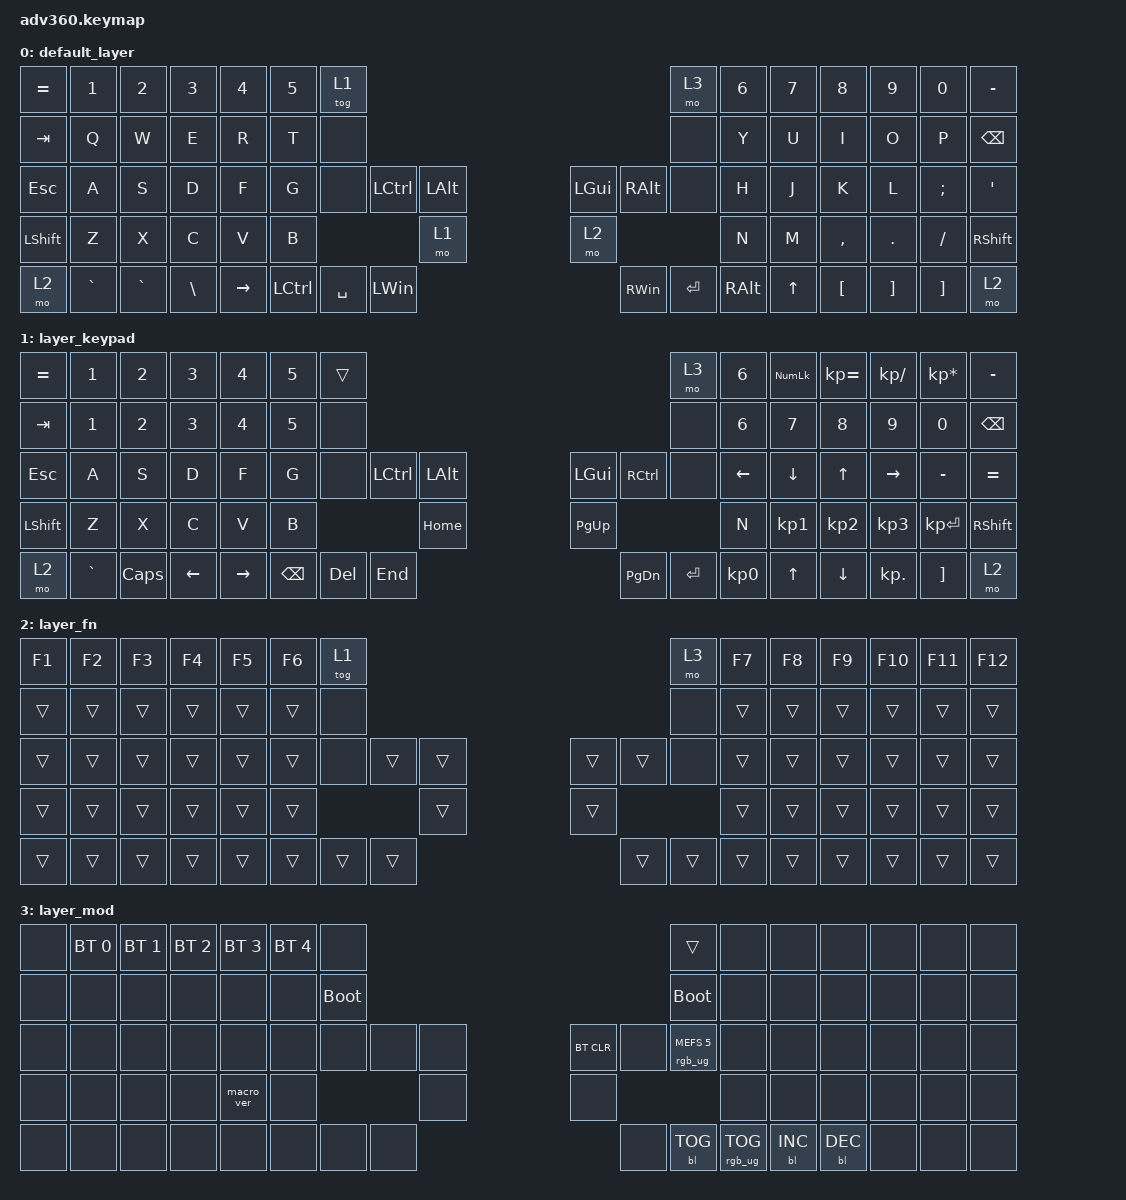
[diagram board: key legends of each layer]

/*
 * Copyright (c) 2020 The ZMK Contributors
 *
 * SPDX-License-Identifier: MIT
 */


/* THIS FILE WAS GENERATED!
 *
 * This file was generated automatically. You may or may not want to
 * edit it directly.
 */

#include <behaviors.dtsi>
#include <dt-bindings/zmk/keys.h>
#include <dt-bindings/zmk/bt.h>
#include <dt-bindings/zmk/rgb.h>
#include <dt-bindings/zmk/backlight.h>

/ {
  behaviors {
    #include "macros.dtsi"
    #include "version.dtsi"

    hm: homerow_mods {
        compatible = "zmk,behavior-hold-tap";
        label = "HOMEROW_MODS";
        #binding-cells = <2>;
        tapping-term-ms = <200>;
        quick_tap_ms = <175>;
        flavor = "tap-preferred";
        bindings = <&kp>, <&kp>;
    };
  };

    keymap {
        compatible = "zmk,keymap";


        default_layer {
            bindings = <
 &kp EQUAL     &kp N1     &kp N2         &kp N3     &kp N4  &kp N5               &tog 1                                                                   &mo 3  &kp N6  &kp N7            &kp N8             &kp N9    &kp N0  &kp MINUS
   &kp TAB      &kp Q      &kp W          &kp E      &kp R   &kp T                &none                                                                   &none   &kp Y   &kp U             &kp I              &kp O     &kp P   &kp BSPC
   &kp ESC      &kp A      &kp S          &kp D      &kp F   &kp G                &none  &kp LCTRL      &kp LALT                  &kp LGUI   &kp RALT     &none   &kp H   &kp J             &kp K              &kp L  &kp SEMI    &kp SQT
 &kp LSHFT      &kp Z      &kp X          &kp C      &kp V   &kp B                                         &mo 1                     &mo 2                        &kp N   &kp M         &kp COMMA            &kp DOT  &kp FSLH  &kp RSHFT
     &mo 2  &kp GRAVE  &kp GRAVE  &kp BACKSLASH  &kp RIGHT                    &kp LCTRL  &kp SPACE  &kp LEFT_WIN                  &kp RWIN  &kp ENTER  &kp RALT          &kp UP  &kp LEFT_BRACKET  &kp RIGHT_BRACKET  &kp RBKT      &mo 2
            >;
        };

        layer_keypad {
            bindings = <
 &kp EQUAL        &kp N1        &kp N2        &kp N3        &kp N4        &kp N5              &trans                                                                 &mo 3        &kp N6    &kp KP_NUM  &kp KP_EQUAL  &kp KP_DIVIDE  &kp KP_MULTIPLY      &kp MINUS
   &kp TAB  &kp NUMBER_1  &kp NUMBER_2  &kp NUMBER_3  &kp NUMBER_4  &kp NUMBER_5               &none                                                                 &none  &kp NUMBER_6  &kp NUMBER_7  &kp NUMBER_8   &kp NUMBER_9     &kp NUMBER_0  &kp BACKSPACE
   &kp ESC         &kp A         &kp S         &kp D         &kp F         &kp G               &none  &kp LCTRL  &kp LALT                   &kp LGUI  &kp RCTRL      &none      &kp LEFT      &kp DOWN        &kp UP      &kp RIGHT        &kp MINUS      &kp EQUAL
 &kp LSHFT         &kp Z         &kp X         &kp C         &kp V         &kp B                                 &kp HOME                  &kp PG_UP                               &kp N     &kp KP_N1     &kp KP_N2      &kp KP_N3     &kp KP_ENTER      &kp RSHFT
     &mo 2     &kp GRAVE      &kp CAPS      &kp LEFT     &kp RIGHT                          &kp BSPC    &kp DEL   &kp END                  &kp PG_DN  &kp ENTER  &kp KP_N0                      &kp UP      &kp DOWN     &kp KP_DOT         &kp RBKT          &mo 2
            >;
        };

        layer_fn {
            bindings = <
 &kp F1  &kp F2  &kp F3  &kp F4  &kp F5  &kp F6            &tog 1                                                   &mo 3  &kp F7  &kp F8  &kp F9  &kp F10  &kp F11  &kp F12
 &trans  &trans  &trans  &trans  &trans  &trans             &none                                                   &none  &trans  &trans  &trans   &trans   &trans   &trans
 &trans  &trans  &trans  &trans  &trans  &trans             &none  &trans  &trans                  &trans  &trans   &none  &trans  &trans  &trans   &trans   &trans   &trans
 &trans  &trans  &trans  &trans  &trans  &trans                            &trans                  &trans                  &trans  &trans  &trans   &trans   &trans   &trans
 &trans  &trans  &trans  &trans  &trans                    &trans  &trans  &trans                  &trans  &trans  &trans          &trans  &trans   &trans   &trans   &trans
            >;
        };

        layer_mod {
            bindings = <
  &none  &bt BT_SEL 0  &bt BT_SEL 1  &bt BT_SEL 2  &bt BT_SEL 3  &bt BT_SEL 4                  &none                                                                          &trans   &none       &none       &none   &none   &none   &none
  &none         &none         &none         &none         &none         &none            &bootloader                                                                     &bootloader   &none       &none       &none   &none   &none   &none
  &none         &none         &none         &none         &none         &none                  &none   &none   &none                  &bt BT_CLR       &none  &rgb_ug RGB_MEFS_CMD 5   &none       &none       &none   &none   &none   &none
  &none         &none         &none         &none    &macro_ver         &none                                  &none                       &none                                       &none       &none       &none   &none   &none   &none
  &none         &none         &none         &none         &none                                &none   &none   &none                       &none  &bl BL_TOG         &rgb_ug RGB_TOG          &bl BL_INC  &bl BL_DEC   &none   &none   &none
            >;
        };

    };
};
